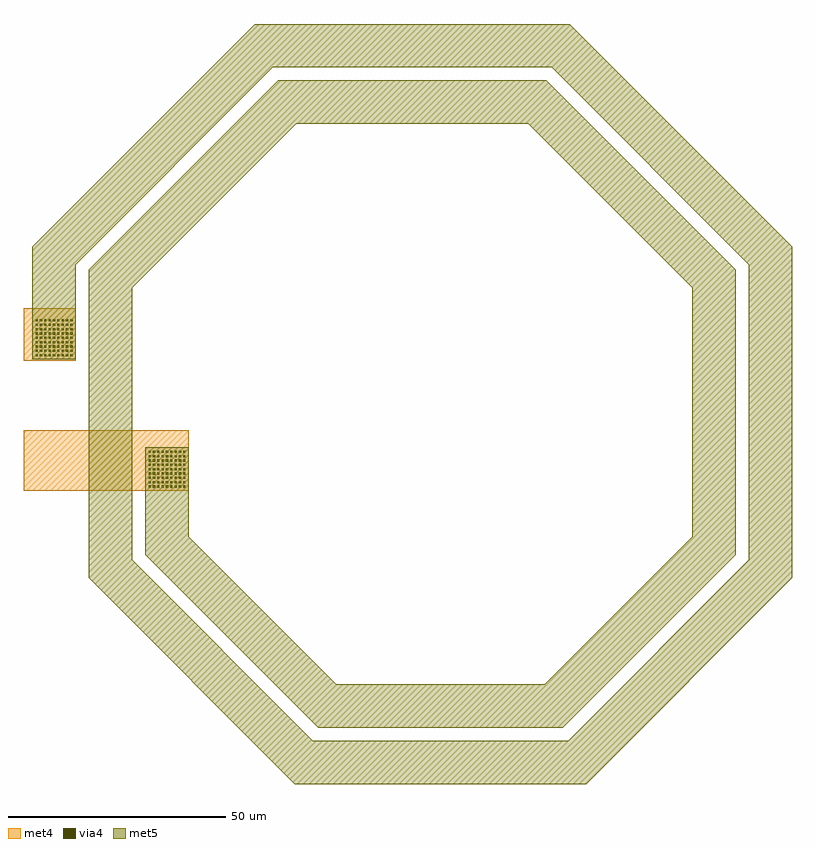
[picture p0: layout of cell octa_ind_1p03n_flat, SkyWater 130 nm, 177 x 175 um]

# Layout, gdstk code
import gdstk
lib = gdstk.Library(unit=1e-6, precision=1e-09)
def R(c, l, rs):  # rectangles x0, y0, x1, y1
    for r in rs: c.add(gdstk.rectangle(r[:2], r[2:], *l))
def A(c, l, x, y, w, h, nx, ny, dx, dy):  # array of equal rectangles
    R(c, l, [(x+i*dx, y+j*dy, x+i*dx+w, y+j*dy+h) for i in range(nx) for j in range(ny)])
def P(c, l, *ps):  # polygons
    for p in ps: c.add(gdstk.Polygon(p, *l))
met4 = (71, 20)
via4 = (71, 44)
met5 = (72, 20)

octa_ind_1p03n_flat = lib.new_cell('octa_ind_1p03n_flat')
R(octa_ind_1p03n_flat, met4, [(-196,-120,-158,-106), (-168,-120,-158,-110), (-196,-90,-184,-78), (-194,-89.75,-184,-79.75)])
A(octa_ind_1p03n_flat, via4, -167.25, -119.25, 0.5, 0.5, 9, 9, 1, 1)
A(octa_ind_1p03n_flat, via4, -193.25, -89, 0.5, 0.5, 9, 9, 1, 1)
R(octa_ind_1p03n_flat, met5, [(-168,-120,-158,-110), (-194,-89.75,-184,-79.75)])
P(octa_ind_1p03n_flat, met5, [(-158,-110),(-158,-130.525),(-124.025,-164.5),(-75.975,-164.5),(-42,-130.525),(-42,-73.285),(-79.785,-35.5),(-133.215,-35.5),(-171,-73.285),(-171,-135.91),(-129.41,-177.5),(-70.59,-177.5),(-29,-135.91),(-29,-67.9),(-74.4,-22.5),(-138.6,-22.5),(-184,-67.9),(-184,-89.75),(-194,-89.75),(-194,-63.755),(-142.745,-12.5),(-70.255,-12.5),(-19,-63.755),(-19,-140.05),(-66.45,-187.5),(-133.55,-187.5),(-181,-140.05),(-181,-69.14),(-137.36,-25.5),(-75.64,-25.5),(-32,-69.14),(-32,-134.665),(-71.835,-174.5),(-128.165,-174.5),(-168,-134.665),(-168,-110)])

lib.write_gds('octa_ind_1p03n_flat.gds')
